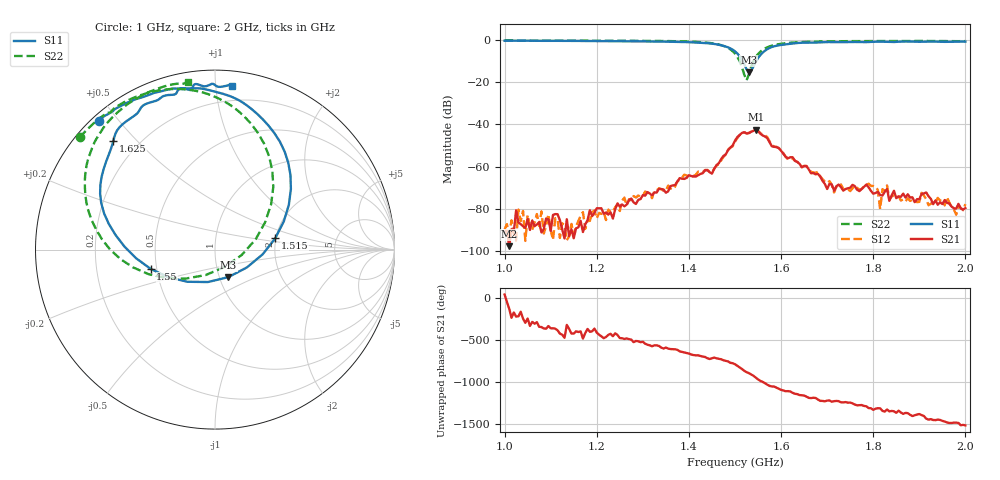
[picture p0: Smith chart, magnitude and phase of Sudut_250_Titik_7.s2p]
# Hz S RI R 50
! CMT, C1220, 16058040, 17.2.0/1
! Date: 14/08/2018 12:15:42
! Data: Format (Calibration Info)
! Freq  S11: Re/Im (F2)  S21: Re/Im (F2)  S12: Re/Im (F2)  S22: Re/Im (F2)
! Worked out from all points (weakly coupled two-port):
!   201 points, 1 GHz to 2 GHz, reference 50 ohm
!   highest |S21| = -42.43 dB at 1.545 GHz (marker M1); lowest = -97.7 dB at 1.01 GHz (marker M2)
!   lowest |S11| = -15.4 dB at 1.53 GHz (marker M3), VSWR 1.41, Z = 55.1 - j17.4 ohm
!   |S11| at or under -10 dB: 1.517 GHz to 1.546 GHz (29.43 MHz wide, 1.92 % of centre)
!   |S22| runs from -19.1 to -0.2 dB; largest |S21 - S12| = 0.00039
!   S11 on the Smith chart (normalised r, x): 1 GHz: 0.02, +0.44; 1.515 GHz: 1.98, +0.28; 1.55 GHz: 0.46, -0.12; 1.625 GHz: 0.11, +0.43; 2 GHz: 0.09, +1.11
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1e9  -0.6481 0.7142  2.19e-05 1.82e-05  -2.35e-06 3.26e-05  -0.7538 0.6248
1.01e9  -0.6351 0.7241  -8.29e-06 -1e-05  -9.66e-06 2.28e-05  -0.7464 0.6325
1.17e9  -0.4796 0.8228  -1.55e-05 -2.35e-05  7.86e-05 -2.68e-05  -0.6169 0.7506
1.25e9  -0.3579 0.866  -5.27e-05 -9.95e-05  -1.78e-05 -8.67e-05  -0.5364 0.8038
1.335e9  -0.222 0.8972  -0.000253 0.000156  -0.000241 0.00019  -0.4006 0.8652
1.45e9  0.177 0.8038  0.000682 1.97e-05  0.000736 -2.72e-05  0.0239 0.8401
1.5e9  0.4228 0.3377  0.00147 -0.00386  0.00137 -0.0036  0.3248 0.3502
1.515e9  0.3354 0.0625  -0.00362 -0.00516  -0.00351 -0.0053  0.2261 0.0566
1.53e9  0.0741 -0.1534  -0.00619 -0.000614  -0.00627 -0.000617  -0.0526 -0.142
1.545e9  -0.2621 -0.1532  -0.00519 0.0055  -0.00525 0.00532  -0.37 -0.1369
1.55e9  -0.3584 -0.1074  -0.00248 0.0065  -0.00279 0.00645  -0.456 -0.0993
1.625e9  -0.5666 0.6044  0.0011 -0.00126  0.00105 -0.00117  -0.7017 0.5198
1.67e9  -0.447 0.7476  -0.00021 -0.000672  -0.000226 -0.000698  -0.6261 0.672
1.715e9  -0.3646 0.8187  -0.000229 -0.000144  -0.000208 -0.000129  -0.551 0.7571
1.805e9  -0.2029 0.8915  -0.000126 0.000201  -1.11e-05 0.000338  -0.4174 0.8534
1.815e9  -0.1874 0.8978  -0.000128 0.00017  -5.35e-05 8.18e-05  -0.4037 0.8606
1.82e9  -0.1774 0.8974  -2.55e-05 0.000204  1.68e-05 0.000292  -0.3969 0.8638
1.83e9  -0.1547 0.8927  -0.000115 0.000272  3.78e-05 0.000358  -0.3836 0.8702
1.835e9  -0.1446 0.8902  2.12e-07 0.000154  8.35e-05 0.000145  -0.377 0.8737
1.845e9  -0.1313 0.8913  -7.84e-06 0.000268  2.87e-05 0.000204  -0.3634 0.8801
1.915e9  -0.0308 0.9178  0.000243 1.66e-05  0.000168 1.82e-05  -0.2652 0.9143
2e9  0.0952 0.9138  2.38e-05 -0.000101  6.57e-05 -0.000111  -0.1529 0.9328
